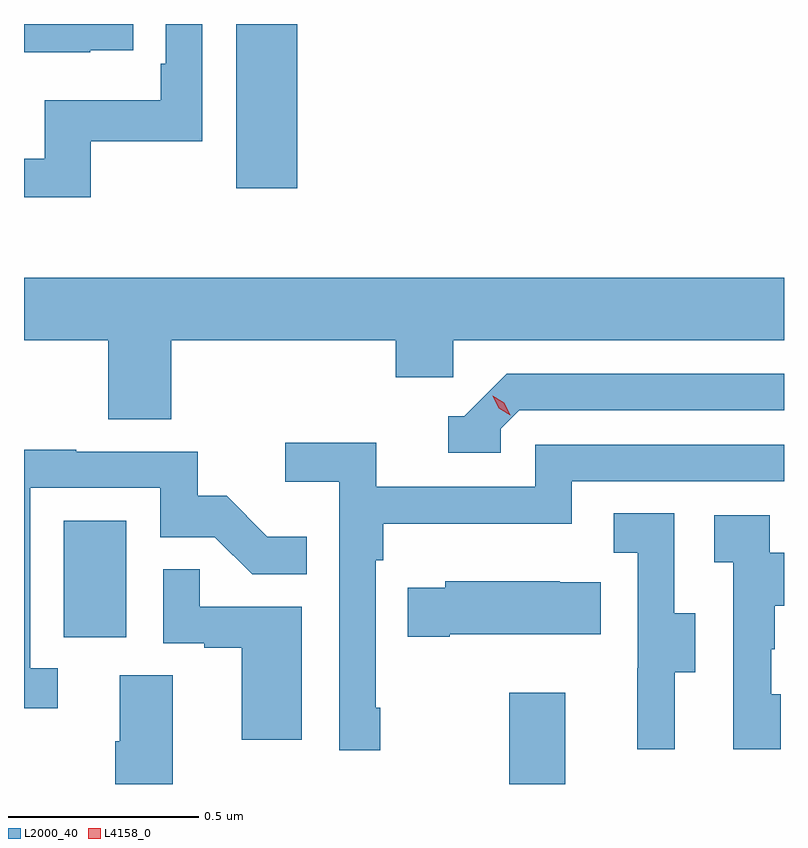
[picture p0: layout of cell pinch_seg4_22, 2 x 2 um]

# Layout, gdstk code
import gdstk
lib = gdstk.Library(unit=1e-6, precision=1e-09)
def R(c, l, rs):  # rectangles x0, y0, x1, y1
    for r in rs: c.add(gdstk.rectangle(r[:2], r[2:], *l))
def P(c, l, *ps):  # polygons
    for p in ps: c.add(gdstk.Polygon(p, *l))
L2000_40 = (2000, 40)
L4158_0 = (4158, 0)

pinch_seg4_22 = lib.new_cell('pinch_seg4_22')
R(pinch_seg4_22, L2000_40, [(1090.9,830.284,1091.047,830.524), (1089.728,830.67,1089.892,830.977), (1090.181,831.852,1090.342,832.284)])
P(pinch_seg4_22, L2000_40, [(1089.797,832.215),(1089.91,832.215),(1089.91,832.284),(1089.623,832.284),(1089.623,832.21),(1089.797,832.21)],
  [(1089.799,831.975),(1090.092,831.975),(1090.092,832.284),(1089.996,832.284),(1089.996,832.18),(1089.983,832.18),(1089.983,832.084),(1089.678,832.084),(1089.678,831.929),(1089.623,831.929),(1089.623,831.828),(1089.799,831.828)],
  [(1090.01,831.452),(1090.601,831.452),(1090.601,831.354),(1090.752,831.354),(1090.752,831.452),(1091.623,831.452),(1091.623,831.616),(1089.623,831.616),(1089.623,831.452),(1089.845,831.452),(1089.845,831.244),(1090.01,831.244)],
  [(1090.878,831.219),(1090.926,831.267),(1091.623,831.267),(1091.623,831.363),(1090.893,831.363),(1090.782,831.252),(1090.739,831.252),(1090.739,831.156),(1090.878,831.156)],
  [(1090.561,830.485),(1090.548,830.485),(1090.548,830.873),(1090.568,830.873),(1090.568,830.969),(1091.064,830.969),(1091.064,831.081),(1091.623,831.081),(1091.623,831.177),(1090.968,831.177),(1090.968,831.066),(1090.55,831.066),(1090.55,831.182),(1090.311,831.182),(1090.311,831.08),(1090.452,831.08),(1090.452,830.373),(1090.561,830.373)],
  [(1089.712,830.589),(1089.639,830.589),(1089.639,831.063),(1089.981,831.063),(1089.981,830.934),(1090.125,830.934),(1090.223,830.836),(1090.367,830.836),(1090.367,830.935),(1090.263,830.935),(1090.156,831.042),(1090.08,831.042),(1090.08,831.159),(1089.761,831.159),(1089.761,831.164),(1089.623,831.164),(1089.623,830.484),(1089.712,830.484)],
  [(1091.335,830.578),(1091.389,830.578),(1091.389,830.733),(1091.334,830.733),(1091.334,830.996),(1091.175,830.996),(1091.175,830.893),(1091.238,830.893),(1091.238,830.589),(1091.237,830.589),(1091.237,830.376),(1091.335,830.376)],
  [(1091.614,830.52),(1091.589,830.52),(1091.589,830.639),(1091.599,830.639),(1091.599,830.753),(1091.623,830.753),(1091.623,830.893),(1091.586,830.893),(1091.586,830.991),(1091.439,830.991),(1091.439,830.867),(1091.49,830.867),(1091.49,830.376),(1091.614,830.376)],
  [(1090.354,830.751),(1090.085,830.751),(1090.085,830.849),(1089.99,830.849),(1089.99,830.655),(1090.097,830.655),(1090.097,830.643),(1090.196,830.643),(1090.196,830.4),(1090.354,830.4)],
  [(1090.744,830.678),(1091.141,830.678),(1091.141,830.815),(1091.033,830.815),(1091.033,830.818),(1090.731,830.818),(1090.731,830.8),(1090.633,830.8),(1090.633,830.671),(1090.744,830.671)],
  [(1089.875,830.57),(1089.875,830.396),(1089.863,830.396),(1089.863,830.284),(1090.015,830.284),(1090.015,830.57)])
P(pinch_seg4_22, L4158_0, [(1090.903,831.254),(1090.872,831.273),(1090.856,831.306),(1090.856,831.306),(1090.856,831.306),(1090.887,831.287),(1090.903,831.254),(1090.903,831.254)])

lib.write_gds('pinch_seg4_22.gds')
